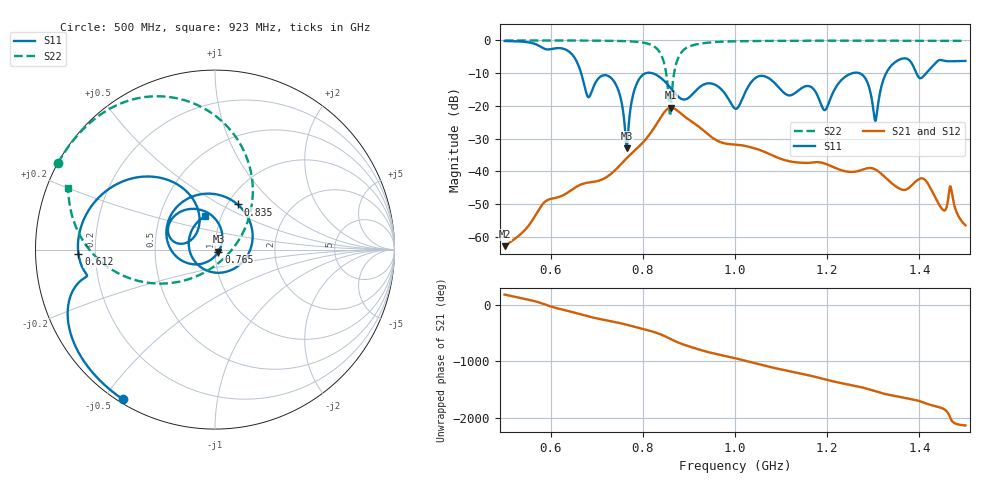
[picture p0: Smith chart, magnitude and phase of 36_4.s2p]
! TOUCHSTONE file generated by CST MICROWAVE STUDIO
! Date and time: Sat Nov 14 20:03:14 2020
! Project name: Scenario_1_Planar_Body_Tissue_Out_of_Line.cst
! Parameters = {dy1=-259.5; L_HA=400; Ltissue=700; MT=2.54; Rad_Dielectric=30; Rad_Lower=7.3; Rad_Upper=30; Wtissue=700; a_HA=580; a_WG=246; b_HA=500; b_WG=121; c_HA=0; c_WG=187; d_feed=85; dx1=693; h_feed=15; h_lower=18; h_upper=40; hfat=3; hgap=25; hmuscle=50; hskin=1.5}
! Header version: 2018
! Port assignment regex: !\s*Touchstone port\s*([0-9]+)\s*=\s*(CST MWS port|CST DS port)\s*([0-9]+|Zmin|Zmax)\s*\(\"(.*)\"\)(\s*mode\s*([0-9]+))?.*
! Touchstone port assignment:
! Touchstone port 1 = CST MWS port 1 ("")
! Touchstone port 2 = CST MWS port 2 ("")
# GHz S DB R 50
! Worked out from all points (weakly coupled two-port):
!   1003 points, 500 MHz to 1.5 GHz, reference 50 ohm
!   highest |S21| = -20.52 dB at 861 MHz (marker M1); lowest = -62.8 dB at 500 MHz (marker M2)
!   lowest |S11| = -32.9 dB at 765 MHz (marker M3), VSWR 1.05, Z = 51.9 - j1.29 ohm
!   |S11| at or under -10 dB: 666.1 MHz to 806.6 MHz (140.5 MHz wide, 19.1 % of centre); 820.5 MHz to 1.255 GHz (434.2 MHz wide, 41.8 % of centre); 1.27 GHz to 1.328 GHz (57.91 MHz wide, 4.46 % of centre)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
!   |S22| runs from -23.1 to 0.0 dB; largest |S21 - S12| = 8.9e-05
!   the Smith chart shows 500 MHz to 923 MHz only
!   S11 on the Smith chart (normalised r, x): 500 MHz: 0.01, -0.56; 612 MHz: 0.14, -0.02; 765 MHz: 1.04, -0.03; 835 MHz: 1.11, +0.61; 923 MHz: 0.84, +0.32
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0.5  -0.18 -121.7  -62.82 177.0  -62.82 177.0  -0.01 151.2
0.612  -2.37 -178.1  -48.04 -60.8  -48.04 -60.8  -0.02 143.2
0.667  -10.43 113.4  -43.91 -176.4  -43.91 -176.4  -0.04 138.4
0.682  -17.35 144.6  -43.39 150.6  -43.39 150.6  -0.05 136.9
0.736  -12.23 113.1  -40.12 59.6  -40.12 59.6  -0.12 130.0
0.765  -32.90 -33.2  -35.95 5.4  -35.95 5.4  -0.23 124.5
0.79  -12.27 -179.0  -32.59 -47.5  -32.59 -47.5  -0.47 117.2
0.834  -10.92 65.9  -24.57 -150.0  -24.57 -150.0  -3.07 85.6
0.835  -11.02 63.3  -24.35 -153.0  -24.35 -153.0  -3.26 84.1
0.861  -14.66 -9.4  -20.52 110.0  -20.52 110.0  -19.98 -97.4
0.879  -17.41 -71.0  -21.89 44.0  -21.89 44.0  -4.66 -168.9
0.923  -14.29 106.5  -26.50 -74.2  -26.50 -74.2  -1.03 157.1
1  -20.81 -158.2  -31.78 136.1  -31.78 136.1  -0.27 140.4
1.053  -10.89 -9.8  -33.42 26.6  -33.42 26.6  -0.17 134.2
1.106  -15.95 -163.4  -36.47 -72.6  -36.47 -72.6  -0.12 129.3
1.167  -14.38 -15.5  -37.30 -178.7  -37.30 -178.7  -0.09 124.3
1.195  -21.28 -158.9  -37.61 122.7  -37.61 122.7  -0.09 122.1
1.271  -10.05 1.6  -39.74 -9.5  -39.74 -9.5  -0.08 116.3
1.305  -24.57 15.3  -39.44 -88.5  -39.44 -88.5  -0.09 113.8
1.334  -8.61 34.7  -42.85 -149.1  -42.85 -149.1  -0.09 111.6
1.468  -6.37 -37.5  -44.62 152.4  -44.73 151.9  -0.11 100.9
1.5  -6.25 -47.7  -56.46 31.1  -56.46 31.1  -0.13 98.1
